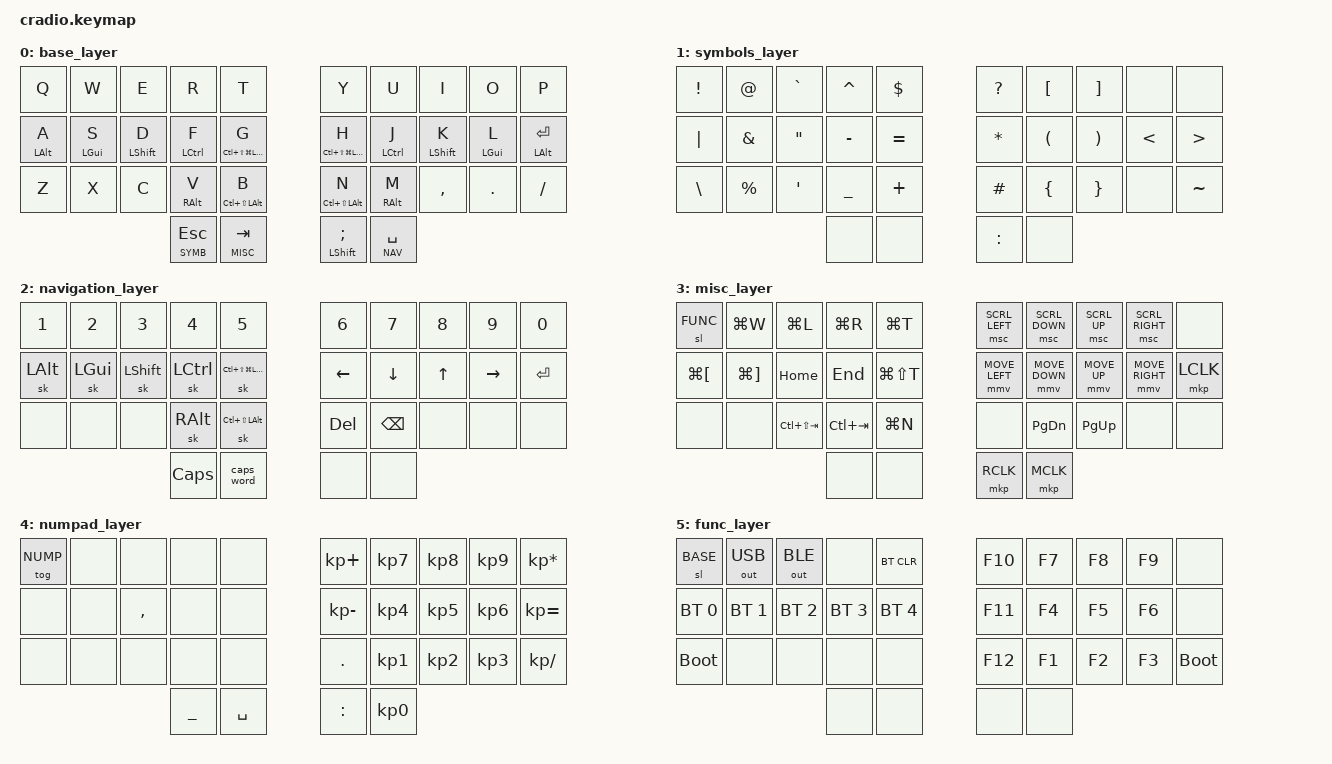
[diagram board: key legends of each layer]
// vim: cursorcolumn:ft=dts

#define ZMK_POINTING_DEFAULT_MOVE_VAL 1500  // default: 600
#define ZMK_POINTING_DEFAULT_SCRL_VAL 15    // default: 10

#include <behaviors.dtsi>
#include <dt-bindings/zmk/keys.h>
#include <dt-bindings/zmk/bt.h>
#include <dt-bindings/zmk/outputs.h>
#include <dt-bindings/zmk/pointing.h>
#include "zmk-helpers/helper.h"
#include "zmk-helpers/key-labels/34.h"


// #define LOCK 0
#define BASE 0
#define SYMB 1
#define NAV 2
#define MISC 3
#define NUMP 4
#define FUNC 5

#define HYPER LC(LS(LG(LALT)))
#define MEH LC(LS(LALT))
#define PREVTAB LC(LS(TAB))
#define NEXTTAB LC(TAB)
#define NAVBACK LG(LBKT)
#define NAVFWD LG(RBKT)


#define KP_ASTR KP_ASTERISK

#define KEYS_L LT0 LT1 LT2 LT3 LT4 LM0 LM1 LM2 LM3 LM4 LB0 LB1 LB2 LB3 LB4  // left-hand keys
#define KEYS_R RT0 RT1 RT2 RT3 RT4 RM0 RM1 RM2 RM3 RM4 RB0 RB1 RB2 RB3 RB4  // right-hand keys
#define THUMBS LH1 LH0 RH0 RH1  // thumb keys

/* left-hand HRMs */
ZMK_BEHAVIOR(hml, hold_tap,
    flavor = "balanced";
    tapping-term-ms = <300>;
    quick-tap-ms = <175>;                // repeat on tap-into-hold
    require-prior-idle-ms = <150>;         // requires PR #1387
    bindings = <&kp>, <&kp>;
    hold-trigger-key-positions = <KEYS_R THUMBS>;
    hold-trigger-on-release;             // delay positional check until key-release
)

/* right-hand HRMs */
ZMK_BEHAVIOR(hmr, hold_tap,
    flavor = "balanced";
    tapping-term-ms = <300>;
    quick-tap-ms = <175>;                // repeat on tap-into-hold
    require-prior-idle-ms = <150>;         // requires PR #1387
    bindings = <&kp>, <&kp>;
    hold-trigger-key-positions = <KEYS_L THUMBS>;
    hold-trigger-on-release;             // delay positional check until key-release
)

/* left-hand HRM shift */
ZMK_BEHAVIOR(hml_s, hold_tap,
    flavor = "balanced";
    tapping-term-ms = <200>;
    quick-tap-ms = <175>;                // repeat on tap-into-hold
    require-prior-idle-ms = <150>;         // requires PR #1387
    bindings = <&kp>, <&kp>;
    hold-trigger-key-positions = <KEYS_R THUMBS>;
    // hold-trigger-on-release;             // delay positional check until key-release
)

/* right-hand HRM shift */
ZMK_BEHAVIOR(hmr_s, hold_tap,
    flavor = "balanced";
    tapping-term-ms = <200>;
    quick-tap-ms = <175>;                // repeat on tap-into-hold
    require-prior-idle-ms = <150>;         // requires PR #1387
    bindings = <&kp>, <&kp>;
    hold-trigger-key-positions = <KEYS_L THUMBS>;
    // hold-trigger-on-release;             // delay positional check until key-release
)

/* symbol-layer HRMs */
ZMK_BEHAVIOR(hml_sym, hold_tap,
    flavor = "tap-preferred";
    tapping-term-ms = <150>;
    quick-tap-ms = <0>;
    require-prior-idle-ms = <200>;
    bindings = <&kp>, <&kp>;
    hold-trigger-key-positions = <KEYS_R THUMBS>;
)

ZMK_BEHAVIOR(hmr_sym, hold_tap,
    flavor = "tap-preferred";
    tapping-term-ms = <150>;
    quick-tap-ms = <0>;
    require-prior-idle-ms = <200>;
    bindings = <&kp>, <&kp>;
    hold-trigger-key-positions = <KEYS_L THUMBS>;
)

/* hold tap */
ZMK_BEHAVIOR(ht, hold_tap,
    flavor = "tap-preferred";
    tapping-term-ms = <200>;
    quick-tap-ms = <0>;                // repeat on tap-into-hold
    require-prior-idle-ms = <0>;         // requires PR #1387
    bindings = <&kp>, <&kp>;
)

/* fast layer-tap for ESC/SYMB */
ZMK_BEHAVIOR(lt_fast, hold_tap,
    // TODO: try "balanced" if "tap-preferred" leads to accidental ESC presses
    flavor = "tap-preferred";
    tapping-term-ms = <200>;
    quick-tap-ms = <150>;
    bindings = <&mo>, <&kp>;
)

&mt {
    //  flavor = "tap-preferred";
    tapping-term-ms = <150>;
};

/ {

    behaviors {
        mo_tog: behavior_mo_tog {
            compatible = "zmk,behavior-hold-tap";
            #binding-cells = <2>;
            flavor = "hold-preferred";
            tapping-term-ms = <200>;
            bindings = <&mo>, <&tog>;
        };
    };

    combos {
        compatible = "zmk,combos";

        // reset on ASDF and JKL;
        sys_reset_left {
            timeout-ms = <30>;
            require-prior-idle-ms = <150>;
            key-positions = <10 11 12 13>;
            bindings = <&sys_reset>;
            layers = <BASE SYMB NAV MISC NUMP FUNC>;
        };

        sys_reset_right {
            timeout-ms = <30>;
            require-prior-idle-ms = <150>;
            key-positions = <16 17 18 19>;
            bindings = <&sys_reset>;
            layers = <BASE SYMB NAV MISC NUMP FUNC>;
        };

        // soft off on QWER and UIOP
        soft_off_left {
            timeout-ms = <30>;
            require-prior-idle-ms = <150>;
            key-positions = <0 1 2 3>;
            bindings = <&soft_off>;
            layers = <BASE SYMB NAV MISC NUMP FUNC>;
        };

        soft_off_right {
            timeout-ms = <30>;
            require-prior-idle-ms = <150>;
            key-positions = <6 7 8 9>;
            bindings = <&soft_off>;
            layers = <BASE SYMB NAV MISC NUMP FUNC>;
        };

        combo_numpad {
            timeout-ms = <30>;
            require-prior-idle-ms = <150>;
            key-positions = <13 14>;
            bindings = <&mo_tog NUMP NUMP>;
            layers = <BASE NUMP>;
        };

        combo_enter_left {
            timeout-ms = <30>;
            require-prior-idle-ms = <150>;
            key-positions = <12 13>;
            bindings = <&kp RET>;
            layers = <BASE NUMP>;
        };
        combo_enter_right {
            timeout-ms = <30>;
            require-prior-idle-ms = <150>;
            key-positions = <16 17>;
            bindings = <&kp RET>;
            layers = <BASE NUMP>;
        };

        combo_backspace_left {
            timeout-ms = <30>;
            require-prior-idle-ms = <150>;
            key-positions = <11 12>;
            bindings = <&kp BSPC>;
            layers = <BASE NUMP>;
        };
        combo_backspace_right {
            timeout-ms = <30>;
            require-prior-idle-ms = <150>;
            key-positions = <17 18>;
            bindings = <&kp BSPC>;
            layers = <BASE NUMP>;
        };

        combo_cut {
            timeout-ms = <30>;
            require-prior-idle-ms = <150>;
            key-positions = <21 22>;
            bindings = <&kp LG(X)>;
            layers = <BASE>;
        };
        combo_copy {
            timeout-ms = <30>;
            require-prior-idle-ms = <150>;
            key-positions = <22 23>;
            bindings = <&kp LG(C)>;
            layers = <BASE>;
        };
        combo_paste {
            timeout-ms = <30>;
            require-prior-idle-ms = <150>;
            key-positions = <23 24>;
            bindings = <&kp LG(V)>;
            layers = <BASE>;
        };
        combo_sel_all {
            timeout-ms = <30>;
            require-prior-idle-ms = <150>;
            key-positions = <21 22 23>;
            bindings = <&kp LG(A)>;
            layers = <BASE>;
        };

        combo_mute_base {
            timeout-ms = <30>;
            require-prior-idle-ms = <150>;
            key-positions = <26 27 28>;
            bindings = <&kp C_MUTE>;
            layers = <BASE>;
        };
        combo_vol_down {
            timeout-ms = <30>;
            require-prior-idle-ms = <150>;
            key-positions = <26 27>;
            bindings = <&kp C_VOL_DN>;
            layers = <BASE>;
        };
        combo_vol_up {
            timeout-ms = <30>;
            require-prior-idle-ms = <150>;
            key-positions = <27 28>;
            bindings = <&kp C_VOL_UP>;
            layers = <BASE>;
        };

        combo_media_prev {
            timeout-ms = <40>;
            require-prior-idle-ms = <150>;
            key-positions = <5 6>;
            bindings = <&kp C_PREV>;
            layers = <BASE>;
        };
        combo_media_play_pause {
            timeout-ms = <40>;
            require-prior-idle-ms = <150>;
            key-positions = <6 7>;
            bindings = <&kp C_PLAY_PAUSE>;
            layers = <BASE>;
        };
        combo_media_next {
            timeout-ms = <40>;
            require-prior-idle-ms = <150>;
            key-positions = <7 8>;
            bindings = <&kp C_NEXT>;
            layers = <BASE>;
        };

        combo_brightness_down {
            timeout-ms = <40>;
            require-prior-idle-ms = <150>;
            key-positions = <LT2 LT3>;
            bindings = <&kp C_BRI_DN>;
            layers = <BASE>;
        };
        combo_brightness_up {
            timeout-ms = <40>;
            require-prior-idle-ms = <150>;
            key-positions = <LT1 LT2>;
            bindings = <&kp C_BRI_UP>;
            layers = <BASE>;
        };

        // combo_unlock {
        //     timeout-ms = <500>;
        //     key-positions = <13 16>;
        //     bindings = <&to BASE>;
        //     layers = <LOCK>;
        // };
    };

    keymap {
        compatible = "zmk,keymap";

        /*
        lock_layer {
            bindings = <
       &none        &none        &none        &none        &none              &none        &none        &none        &none        &none
       &none        &none        &none        &none        &none              &none        &none        &none        &none        &none
       &none        &none        &none        &none        &none              &none        &none        &none        &none        &none
                                              &none        &none              &none        &none
                >;
        };
        */

        // BASE
        base_layer {
            bindings = <
       // &ht N1 Q     &ht N2 W     &ht N3 E       &ht N4 R          &ht N5 T         &ht N6 Y       &ht N7 U     &ht N8 I       &ht N9 O    &ht N0 P
       &kp Q        &kp W        &kp E          &kp R             &kp T              &kp Y           &kp U        &kp I          &kp O       &kp P
       &hml LALT A  &hml LGUI S  &hml_s LSHFT D &hml LCTRL F      &hml HYPER G       &hmr HYPER H    &hmr LCTRL J &hmr_s LSHFT K &hmr LGUI L &hmr LALT RET
       &kp Z        &kp X        &kp C          &hml RALT V       &hml MEH B         &hmr MEH N      &hmr RALT M  &kp COMMA      &kp DOT     &kp FSLH
                                                &lt_fast SYMB ESC &lt MISC TAB       &mt LSHFT SEMI  &lt NAV SPACE
                >;
        };

        // SYMB
        symbols_layer {
            bindings = <
       // &kp EXCL            &kp AT              &kp GRAVE           &kp CARET             &kp DLLR                 &kp QUESTION         &kp LBKT             &kp RBKT             &none             &none
       // &hml_sym LALT PIPE  &hml_sym LGUI AMPS  &hml_sym LSHFT DQT  &hml_sym LCTRL MINUS  &hml_sym HYPER EQUAL     &hmr_sym HYPER STAR  &hmr_sym LCTRL LPAR  &hmr_sym LSHFT RPAR  &hmr_sym LGUI LT  &hmr_sym LALT GT
       // &kp BSLH            &kp PERCENT         &kp SQT             &hml RALT UNDER       &kp PLUS                 &kp HASH             &hmr RALT LBRC       &kp RBRC             &none             &kp TILDE
       //                                                             &none                 &kp CAPS                 &kp COLON            &none
       &kp EXCL  &kp AT       &kp GRAVE  &kp CARET  &kp DLLR      &kp QUESTION  &kp LBKT  &kp RBKT  &none   &none
       &kp PIPE  &kp AMPS     &kp DQT    &kp MINUS  &kp EQUAL     &kp STAR      &kp LPAR  &kp RPAR  &kp LT  &kp GT
       &kp BSLH  &kp PERCENT  &kp SQT    &kp UNDER  &kp PLUS      &kp HASH      &kp LBRC  &kp RBRC  &none   &kp TILDE
                                         &none      &none         &kp COLON     &none
                >;
        };

        // NAV
        navigation_layer {
            bindings = <
       &kp N1       &kp N2       &kp N3       &kp N4       &kp N5             &kp N6       &kp N7       &kp N8       &kp N9       &kp N0
       &sk LALT     &sk LGUI     &sk LSHIFT   &sk LCTRL    &sk HYPER          &kp LEFT     &kp DOWN     &kp UP       &kp RIGHT    &kp RET
       &none        &none        &none        &sk RALT     &sk MEH            &kp DELETE   &kp BSPC     &none        &none        &none
                                              &kp CAPS     &caps_word         &none        &none
                >;
        };

        // MISC
        misc_layer {
            bindings = <
       &sl FUNC    &kp LG(W)  &kp LG(L)       &kp LG(R)       &kp LG(T)          &msc SCRL_LEFT  &msc SCRL_DOWN  &msc SCRL_UP  &msc SCRL_RIGHT  &none
       &kp NAVBACK &kp NAVFWD &kp HOME        &kp END         &kp LG(LS(T))      &mmv MOVE_LEFT  &mmv MOVE_DOWN  &mmv MOVE_UP  &mmv MOVE_RIGHT  &mkp LCLK
       &none       &none      &kp PREVTAB     &kp NEXTTAB     &kp LG(N)          &none           &kp PG_DN       &kp PG_UP     &none            &none
                                              &none           &none              &mkp RCLK       &mkp MCLK
                >;
        };

        // NUMP
        numpad_layer {
            bindings = <
       &tog NUMP    &none        &none        &none        &none              &kp KP_PLUS  &kp KP_N7    &kp KP_N8    &kp KP_N9    &kp KP_ASTR
       &none        &none        &kp COMMA    &none        &none              &kp KP_MINUS &kp KP_N4    &kp KP_N5    &kp KP_N6    &kp KP_EQUAL
       &none        &none        &none        &none        &none              &kp DOT      &kp KP_N1    &kp KP_N2    &kp KP_N3    &kp KP_SLASH
                                              &kp UNDER    &kp SPACE          &kp COLON    &kp KP_N0
                >;
        };

        // FUNC
        func_layer {
            bindings = <
       &sl BASE     &out OUT_USB &out OUT_BLE &none        &bt BT_CLR         &kp F10      &kp F7       &kp F8       &kp F9       &none
       &bt BT_SEL 0 &bt BT_SEL 1 &bt BT_SEL 2 &bt BT_SEL 3 &bt BT_SEL 4       &kp F11      &kp F4       &kp F5       &kp F6       &none
       &bootloader  &none        &none        &none        &none              &kp F12      &kp F1       &kp F2       &kp F3       &bootloader
                                              &none        &none              &none        &none
                >;
        };

    };
};

